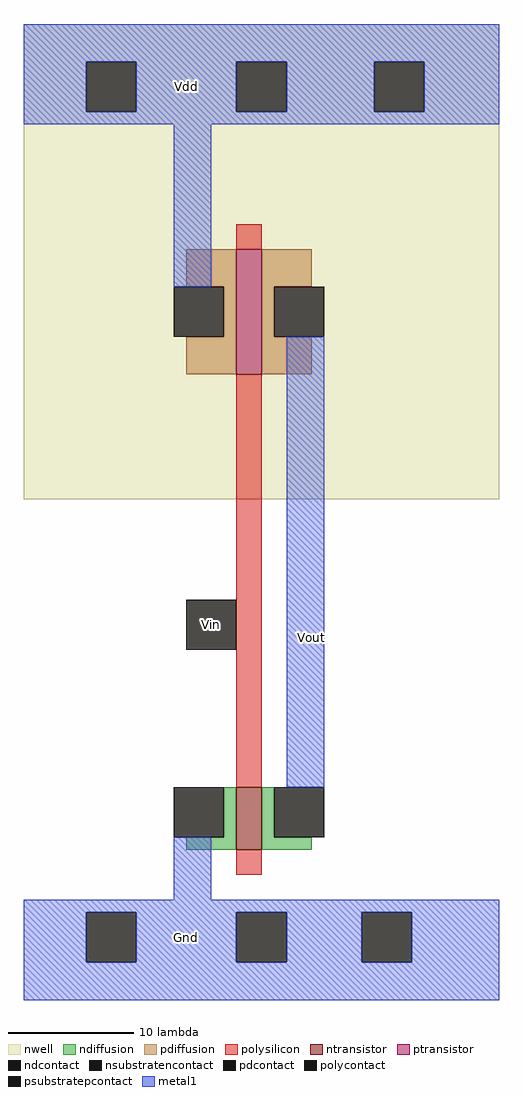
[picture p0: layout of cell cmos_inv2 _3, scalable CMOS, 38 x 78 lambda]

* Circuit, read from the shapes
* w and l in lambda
.subckt cmos_inv2 _3 Gnd Vdd Vin Vout
M1 Vout Vin Gnd Gnd nfet w=5 l=2
M2 Vout Vin Vdd Vdd pfet w=10 l=2
.ends

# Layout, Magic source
magic
tech scmos
<< nwell >>
rect -10 33 28 71
<< polysilicon >>
rect 7 53 9 55
rect 7 10 9 43
rect 7 3 9 5
<< ndiffusion >>
rect 6 6 7 10
rect 3 5 7 6
rect 9 6 10 10
rect 9 5 13 6
<< pdiffusion >>
rect 3 50 7 53
rect 6 46 7 50
rect 3 43 7 46
rect 9 50 13 53
rect 9 46 10 50
rect 9 43 13 46
<< metal1 >>
rect -10 68 28 71
rect -10 64 -5 68
rect -1 64 7 68
rect 11 64 18 68
rect 22 64 28 68
rect -10 63 28 64
rect 2 50 5 63
rect 11 10 14 46
rect 2 1 5 6
rect -10 0 28 1
rect -10 -4 -5 0
rect -1 -4 7 0
rect 11 -4 17 0
rect 21 -4 28 0
rect -10 -7 28 -4
<< ntransistor >>
rect 7 5 9 10
<< ptransistor >>
rect 7 43 9 53
<< polycontact >>
rect 3 21 7 25
<< ndcontact >>
rect 2 6 6 10
rect 10 6 14 10
<< pdcontact >>
rect 2 46 6 50
rect 10 46 14 50
<< psubstratepcontact >>
rect -5 -4 -1 0
rect 7 -4 11 0
rect 17 -4 21 0
<< nsubstratencontact >>
rect -5 64 -1 68
rect 7 64 11 68
rect 18 64 22 68
<< labels >>
rlabel metal1 3 66 3 66 5 Vdd
rlabel metal1 3 -2 3 -2 1 Gnd
rlabel polycontact 5 23 5 23 1 Vin
rlabel metal1 13 22 13 22 1 Vout
<< end >>
